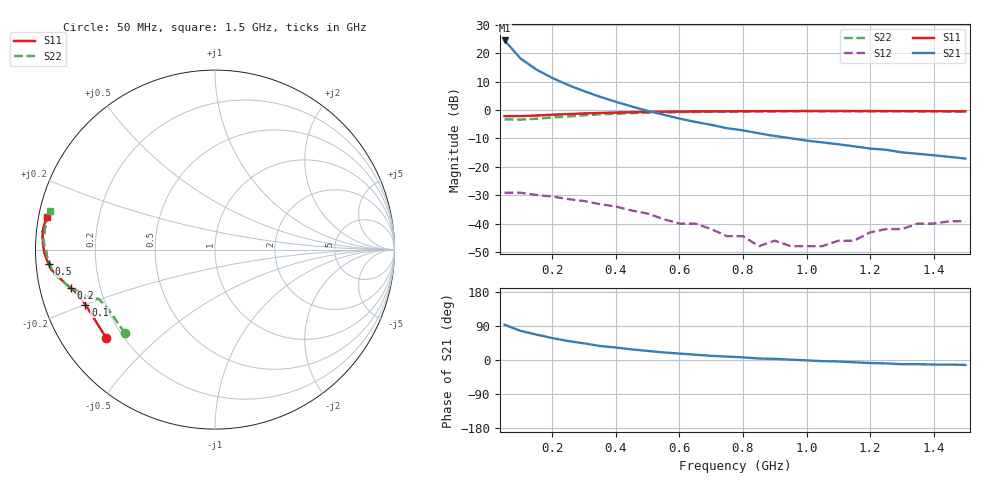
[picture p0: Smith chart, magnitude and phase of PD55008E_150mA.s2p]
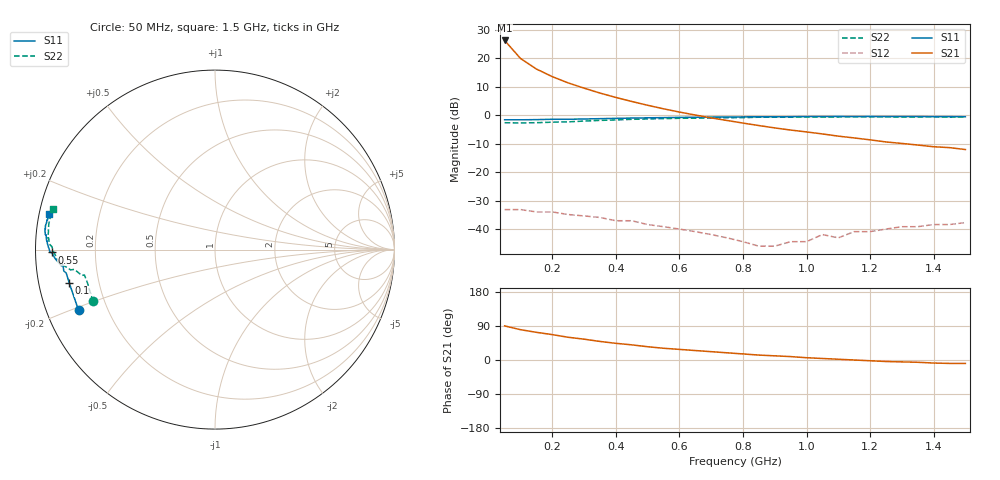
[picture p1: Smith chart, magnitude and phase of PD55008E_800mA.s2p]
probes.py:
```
"""
Network Probes
==============

This examples demonstrates how internal probes can be used to tune an amplifier. 

The amplifier used is a 8W UHF FET manufactured by STM. 
Network probes allow the reflection coefficients at the amplifier, :math:`\Gamma_{in}` and :math:`\Gamma_{out}`, 
to be plotted while the amplifier is connected to matching networks. For the purposes of this example, the amplifier is 
conjugately matched at the output rather than being matched for optimal output power.

"""

# sphinx_gallery_thumbnail_number = -3

import rfnetwork as rfn
from pathlib import Path
import numpy as np
import matplotlib.pyplot as plt
import mpl_markers as mplm

# set matplotlib style
plt.style.use(rfn.DEFAULT_STYLE)

try:
    dir_ = Path(__file__).parent
except:
    dir_ = Path().cwd()

DATA_DIR = dir_ / r"data/PD55008E_S_parameter"

# frequency range for plots
frequency = np.arange(350, 550, 5) * 1e6 
f0 = 440e6 # design frequency

def smithchart_marker(ax, fc: float, **properties):
    """ place a smith chart marker by frequency rather than x/y position """
    
    f_idx = np.argmin(np.abs(frequency - fc))
    return mplm.line_marker(
        idx=f_idx, axes=ax, xline=False, yformatter=lambda x, y, idx: f"{frequency[idx]/1e6:.0f}MHz", **properties
)

pa_8w = rfn.Component_SnP(
    file={
        150: DATA_DIR / "PD55008E_150mA.s2p", 
        800: DATA_DIR / "PD55008E_800mA.s2p", 
        1500: DATA_DIR / "PD55008E_1500mA.s2p"
    }
)

# 50 ohm microstrip model, substrate is from the amplifier evaluation board.
ms50 = rfn.elements.MSLine(
    h=0.030, 
    er=2.55, 
    w=0.08,
    df=0.017,
)

# plot the s-parameters of the untuned device
pa_8w.plot();

# %%
# Matching Network
# ----------------
# Build a matching network, with the input and output networks contained in their own ``Component`` class.

# 50 ohm microstrip model, substrate is from the amplifier evaluation board.
ms50 = rfn.elements.MSLine(
    h=0.030, 
    er=2.55, 
    w=0.08,
    df=0.017,
)

class pa_input(rfn.Network):
    """
    Amplifier input matching network
    """
    c1 = rfn.elements.Capacitor(12e-12, shunt=True)
    ms1 = ms50(1.1)
    c2 = rfn.elements.Capacitor(40e-12, shunt=True)
    ms2 = ms50(0.4)
    r1 = rfn.elements.Resistor(2)

    # Port 2 will connect to port 1 of the amplifer
    cascades = [
        ("P1", c1, ms1, c2, ms2, r1, "P2"),
    ]

    probes=True

class pa_output(rfn.Network):
    """
    PA output matching network
    """
    ms3 = ms50(0.4)
    c3 = rfn.elements.Capacitor(65e-12, shunt=True)
    ms4 = ms50(1.1)
    c4 = rfn.elements.Capacitor(15e-12, shunt=True)

    # Port 1 will connect to the amplifier output
    cascades = [
        ("P1", ms3, c3, ms4, c4, "P2"),
    ]
    
    # individual probes can be assigned here, but setting to True
    # creates a probe at every internal node of the network.
    probes=True


class pa_match(rfn.Network):
    """
    Matched amplifier circuit
    """
    m_in = pa_input()
    u1 = pa_8w(file=150)
    m_out = pa_output()

    cascades = [
        ("P1", m_in, u1, m_out, "P2"),
    ]

    probes=True

n = pa_match()

# %%
# Internal Reflection Coefficients
# --------------------------------
#
# The probe data is used to plot the reflection coefficient looking into each component in the network. 
# On the input side, :math:`\Gamma_{in}` of the amplifier is plotted first and is followed by each the reflection looking 
# into each component that precedes it, until we arrive at S11.
# The output side starts at :math:`\Gamma_{out}``, and works back towards S22.
#
# The notation for the legend follows the same convention as S11, or S22. For example, ``S(m_in.ms2|1, m_in.c2|2)`` 
# is the ratio of the voltage wave leaving port 1 of `ms2` to the voltage wave leaving port 2 of ``c2`` 
# (which is the same wave that enters `ms2`). The result is the reflection coefficient looking into port 1 of ``ms2```.


fig, axes = plt.subplot_mosaic(
    [["s11", "s22"], ["im", "im"]], figsize=(10, 7), height_ratios=[1, 0.5]
)

rfn.plots.draw_smithchart(axes["s11"])
rfn.plots.draw_smithchart(axes["s22"])

lines1 = n.plot_probe(
    ("u1|1", "m_in|2"),
    ("m_in.r1|1", "m_in.ms2|2"),
    ("m_in.ms2|1", "m_in.c2|2"),
    ("m_in.c2|1", "m_in.ms1|2"),
    ("m_in.ms1|1", "m_in.c1|2"),
    input_port=1, fmt="smith", tune=True,
    axes=axes["s11"],
    frequency=frequency,
)

ln_s11 = n.plot(11, fmt="smith", tune=True, axes=axes["s11"], frequency=frequency)
axes["s11"].legend(fontsize=8)

smithchart_marker(axes["s11"], f0, lines=lines1, ylabel=False)
smithchart_marker(axes["s11"], f0, lines=ln_s11)

lines2 = n.plot_probe(
    ("u1|2", "m_out|1"),
    ("m_out.ms3|2", "m_out.c3|1"),
    ("m_out.c3|2", "m_out.ms4|1"),
    ("m_out.ms4|2", "m_out.c4|1"),
    input_port=2, fmt="smith", tune=True,
    axes=axes["s22"],
    frequency=frequency,
)

ln_s22 = n.plot(22, fmt="smith", tune=True, axes=axes["s22"], frequency=frequency)
axes["s22"].legend(fontsize=8)

smithchart_marker(axes["s22"], f0, lines=lines2, ylabel=False)
smithchart_marker(axes["s22"], f0, lines=ln_s22)


im = plt.imread(dir_ / "data/img/pa_tuning.png")
axes["im"].imshow(im)
axes["im"].set_axis_off()

fig.tight_layout()

# %%
# Stability and Gain
# ------------------
#
# Plot the source and load stability circles, along with the conjugate input impedance for the output matching network.
# Since :math:`|S_{22}|` and :math:`|S_{11}|` of the untuned amplifier are both $<1$, the unstable region is inside the 
# circles.

f_wide = np.arange(50, 1500, 5) * 1e6 

fig, ax = plt.subplots(1, 1, figsize=(7, 7))
rfn.plots.draw_smithchart(ax)

s_circ, l_circ = rfn.plots.stability_circles(pa_8w.evaluate(f0)["s"].sel(frequency=f0))

l_line = ax.plot(l_circ.real, l_circ.imag, label=r"$\Gamma_L$ Stability", color="m")
s_line = ax.plot(s_circ.real, s_circ.imag, label=r"$\Gamma_S$ Stability", color="teal")

# plot the conjugate match for S22 of the amplifier
s22 = pa_8w.evaluate(f0)["s"].sel(b=2, a=2)
ax.scatter(np.conj(s22).real, np.conj(s22).imag, marker="x", color="k", label=r"$\Gamma_{L, opt}$")


gamma_S = n.plot_probe(
    ("m_in|2", "u1|1"), input_port=2, fmt="smith", axes=ax, frequency=f_wide, 
)

gamma_L = n.plot_probe(
    ("m_out|1", "u1|2"), input_port=1, fmt="smith", axes=ax, frequency=f_wide, 
)

# %%
# Plot the Gain
# 

f_gain = np.arange(300, 600, 5) * 1e6 

n.plot(11, 22, 21, fmt="db", frequency=f_gain)
mplm.line_marker(x=f0/1e9)
plt.show()
```
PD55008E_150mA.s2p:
! freq mag(S11) phase(S11) mag(S12) phase(S12)
!  mag(S21) phase(S21) mag(S22) phase(S22)
! Vdd= 12.5 V, Idq = 150mA
!s-parameter data
#  MHz  S  MA  R 50
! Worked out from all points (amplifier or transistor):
!   30 points, 50 MHz to 1.5 GHz, reference 50 ohm
!   highest |S21| = 24.6 dB at 50 MHz (marker M1)
!   |S21| within 3 dB of that: start of sweep to 73.66 MHz
!   unconditionally stable (mu >= 1): 733.3 MHz to end of sweep
!   at 300 MHz: K = 0.12, MSG = 19.4 dB, |S12| = -32.0 dB
!   at 800 MHz: K = 1.09, MAG = 16.8 dB, |S12| = -44.4 dB
!   at 1.5 GHz: K = 3.27, MAG = 3.0 dB, |S12| = -39.2 dB
!   S11 on the Smith chart (normalised r, x): 50 MHz: 0.14, -0.35; 100 MHz: 0.13, -0.20; 200 MHz: 0.09, -0.13; 500 MHz: 0.04, -0.04; 1.5 GHz: 0.02, +0.10
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50  0.781 -141.0  16.89 93.0  0.035 4.0  0.685 -137.0
100  0.784 -157.0  8.14 77.0  0.035 -11.0  0.681 -151.0
150  0.803 -162.0  5.19 67.0  0.032 -18.0  0.704 -157.0
200  0.83 -165.0  3.69 58.0  0.03 -26.0  0.743 -159.0
250  0.852 -167.0  2.77 50.0  0.027 -34.0  0.773 -161.0
350  0.892 -171.0  1.72 37.0  0.022 -43.0  0.844 -166.0
500  0.928 -175.0  0.97 24.0  0.015 -51.0  0.903 -171.0
800  0.957 179.0  0.44 7.0  0.006 -40.0  0.94 -180.0
850  0.959 178.0  0.39 4.0  0.004 -30.0  0.95 179.0
1050  0.964 175.0  0.27 -3.0  0.004 43.0  0.953 175.0
1500  0.952 169.0  0.14 -13.0  0.011 76.0  0.944 167.0
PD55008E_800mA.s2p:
! freq mag(S11) phase(S11) mag(S12) phase(S12)
!  mag(S21) phase(S21) mag(S22) phase(S22)
! Vdd= 12.5 V, Idq = 800mA
!s-parameter data
#  MHz  S  MA  R 50
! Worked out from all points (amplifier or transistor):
!   30 points, 50 MHz to 1.5 GHz, reference 50 ohm
!   highest |S21| = 26.3 dB at 50 MHz (marker M1)
!   |S21| within 3 dB of that: start of sweep to 73.7 MHz
!   unconditionally stable (mu >= 1): 696.4 MHz to end of sweep
!   at 300 MHz: K = 0.33, MSG = 22.5 dB, |S12| = -35.4 dB
!   at 800 MHz: K = 1.63, MAG = 16.2 dB, |S12| = -44.4 dB
!   at 1.5 GHz: K = 2.08, MAG = 6.9 dB, |S12| = -37.7 dB
!   S11 on the Smith chart (normalised r, x): 50 MHz: 0.10, -0.21; 100 MHz: 0.09, -0.11; 550 MHz: 0.05, -0.01; 1.5 GHz: 0.03, +0.11
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50  0.832 -156.0  20.68 90.0  0.022 3.0  0.74 -157.0
100  0.833 -167.0  9.98 80.0  0.022 -6.0  0.734 -165.0
150  0.839 -171.0  6.51 73.0  0.02 -11.0  0.741 -169.0
200  0.851 -172.0  4.78 67.0  0.02 -16.0  0.756 -169.0
250  0.851 -174.0  3.71 60.0  0.018 -20.0  0.767 -170.0
350  0.872 -175.0  2.46 49.0  0.016 -23.0  0.813 -172.0
400  0.883 -176.0  2.06 44.0  0.014 -26.0  0.828 -173.0
550  0.91 -179.0  1.3 31.0  0.011 -27.0  0.874 -176.0
800  0.937 177.0  0.73 16.0  0.006 -3.0  0.908 179.0
900  0.942 176.0  0.6 11.0  0.005 17.0  0.926 177.0
1500  0.944 168.0  0.25 -9.0  0.013 67.0  0.933 166.0
